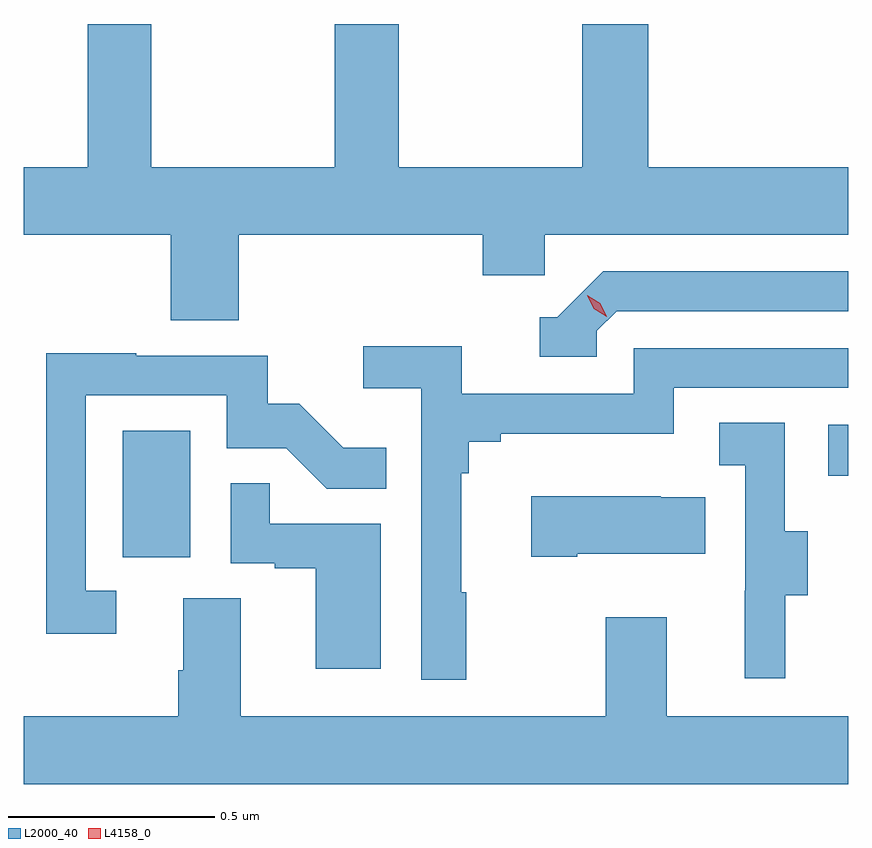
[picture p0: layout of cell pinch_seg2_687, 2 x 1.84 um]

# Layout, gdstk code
import gdstk
lib = gdstk.Library(unit=1e-6, precision=1e-09)
def R(c, l, rs):  # rectangles x0, y0, x1, y1
    for r in rs: c.add(gdstk.rectangle(r[:2], r[2:], *l))
def P(c, l, *ps):  # polygons
    for p in ps: c.add(gdstk.Polygon(p, *l))
L2000_40 = (2000, 40)
L4158_0 = (4158, 0)

pinch_seg2_687 = lib.new_cell('pinch_seg2_687')
R(pinch_seg2_687, L2000_40, [(1024.46,593.574,1024.624,593.881), (1026.171,593.771,1026.22,593.895)])
P(pinch_seg2_687, L2000_40, [(1025.13,594.867),(1024.975,594.867),(1024.975,594.52),(1024.53,594.52),(1024.53,594.867),(1024.375,594.867),(1024.375,594.52),(1024.22,594.52),(1024.22,594.356),(1024.577,594.356),(1024.577,594.148),(1024.742,594.148),(1024.742,594.356),(1025.333,594.356),(1025.333,594.258),(1025.484,594.258),(1025.484,594.356),(1026.22,594.356),(1026.22,594.52),(1025.735,594.52),(1025.735,594.867),(1025.575,594.867),(1025.575,594.52),(1025.13,594.52)],
  [(1025.61,594.123),(1025.658,594.171),(1026.22,594.171),(1026.22,594.267),(1025.625,594.267),(1025.514,594.156),(1025.471,594.156),(1025.471,594.06),(1025.61,594.06)],
  [(1025.293,593.489),(1025.281,593.489),(1025.281,593.777),(1025.3,593.777),(1025.3,593.854),(1025.377,593.854),(1025.377,593.873),(1025.796,593.873),(1025.796,593.985),(1026.22,593.985),(1026.22,594.081),(1025.7,594.081),(1025.7,593.97),(1025.282,593.97),(1025.282,594.086),(1025.043,594.086),(1025.043,593.984),(1025.184,593.984),(1025.184,593.277),(1025.293,593.277)],
  [(1024.444,593.493),(1024.371,593.493),(1024.371,593.967),(1024.713,593.967),(1024.713,593.838),(1024.857,593.838),(1024.955,593.74),(1025.099,593.74),(1025.099,593.839),(1024.995,593.839),(1024.888,593.946),(1024.812,593.946),(1024.812,594.063),(1024.493,594.063),(1024.493,594.068),(1024.275,594.068),(1024.275,593.388),(1024.444,593.388)],
  [(1026.067,593.482),(1026.121,593.482),(1026.121,593.637),(1026.066,593.637),(1026.066,593.9),(1025.907,593.9),(1025.907,593.797),(1025.97,593.797),(1025.97,593.493),(1025.969,593.493),(1025.969,593.28),(1026.067,593.28)],
  [(1025.086,593.655),(1024.817,593.655),(1024.817,593.753),(1024.722,593.753),(1024.722,593.559),(1024.829,593.559),(1024.829,593.547),(1024.928,593.547),(1024.928,593.304),(1025.086,593.304)],
  [(1025.563,593.582),(1025.873,593.582),(1025.873,593.719),(1025.765,593.719),(1025.765,593.722),(1025.451,593.722),(1025.451,593.575),(1025.563,593.575)],
  [(1026.22,593.188),(1025.779,593.188),(1025.779,593.428),(1025.632,593.428),(1025.632,593.188),(1024.747,593.188),(1024.747,593.474),(1024.607,593.474),(1024.607,593.3),(1024.595,593.3),(1024.595,593.188),(1024.22,593.188),(1024.22,593.024),(1026.22,593.024)])
P(pinch_seg2_687, L4158_0, [(1025.634,594.157),(1025.603,594.176),(1025.587,594.209),(1025.587,594.209),(1025.587,594.209),(1025.618,594.19),(1025.634,594.158),(1025.634,594.157)])

lib.write_gds('pinch_seg2_687.gds')
